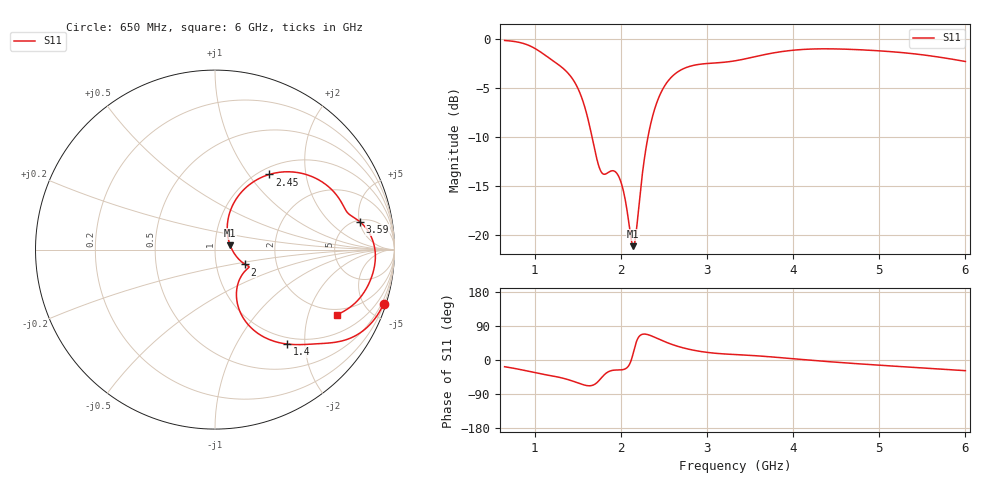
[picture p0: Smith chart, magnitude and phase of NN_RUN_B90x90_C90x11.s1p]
! IGNION VIRTUAL ANTENNA LIBRARY
! NN_RUN_B90x90_C90x11
! Virtual Antenna™ RUN mXTEND™: NN02-224 12.0 mm x 3.0 mm x 2.4 mm
! https://ignion.io/product/run-mxtend/
! Board: 90 mm x 90 mm
! Clearance Area: 90 mm x 11 mm
! Feeding line: L-shape; 11mm x 2mm and 5mm x 2mm
! Applications: Fleet management, IoT
! Frequency range 0.65GHz to 6GHz, step 10MHz
! Number of ports 1
! This product and its use is protected by at least one or more of the following patents and patent
! applications US 8,203,492 B2; US 8,237,615 B2; PCT/EP2013/064692; WO 2014/012842 A1; US 2019/190122 A1;
! US 62/072,671; and other domestic and international patents pending. Additional information about
! patents related to this product is available at https://ignion.io/files/Patent-list-NN.pdf, all
! rights reserved. Copyright, Ignion 2021.
! Need more help? Your platform is much different than these examples in the manual? Use our
! Fast Track service (https://ignion.io/fast-track/), for free, and get a personalized antenna design in
! just 24 hours.
! Touchstone port 1 = "Series Port"
! IE3D S-Parameters Output Version 2.0
# GHZ S MA R 50
! Nport = 1
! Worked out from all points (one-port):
!   536 points, 650 MHz to 6 GHz, reference 50 ohm
!   lowest |S11| = -21.1 dB at 2.14 GHz (marker M1), VSWR 1.19, Z = 59.2 + j2.77 ohm
!   |S11| at or under -10 dB: 1.666 GHz to 2.314 GHz (647.9 MHz wide, 32.6 % of centre)
!   S11 on the Smith chart (normalised r, x): 650 MHz: 0.27, -6.40; 1.4 GHz: 0.89, -1.66; 2 GHz: 1.38, -0.24; 2.45 GHz: 1.11, +1.27; 3.59 GHz: 5.29, +5.06; 6 GHz: 1.73, -3.10
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0.65  0.9871 -17.7
0.83  0.9627 -25.1
1  0.8997 -33.3
1.32  0.7166 -47.6
1.4  0.6616 -52.7
1.53  0.5249 -62.9
1.65  0.3406 -67.8
1.77  0.2112 -48.1
1.92  0.2128 -26.8
1.99  0.1927 -26.2
2  0.1873 -26.1
2.05  0.1522 -23.4
2.12  0.09534 -0.4
2.14  0.08796 15.3
2.17  0.09731 41.2
2.25  0.2067 67.9
2.31  0.31 67.1
2.37  0.4078 62.2
2.45  0.5169 54.1
2.54  0.6068 45.5
2.66  0.6823 36.1
2.9  0.7444 23.5
3.33  0.7776 14.3
3.59  0.8218 10.9
4  0.88 3.4
4.67  0.8889 -8.6
5.34  0.8495 -18.7
6  0.7707 -28.1
